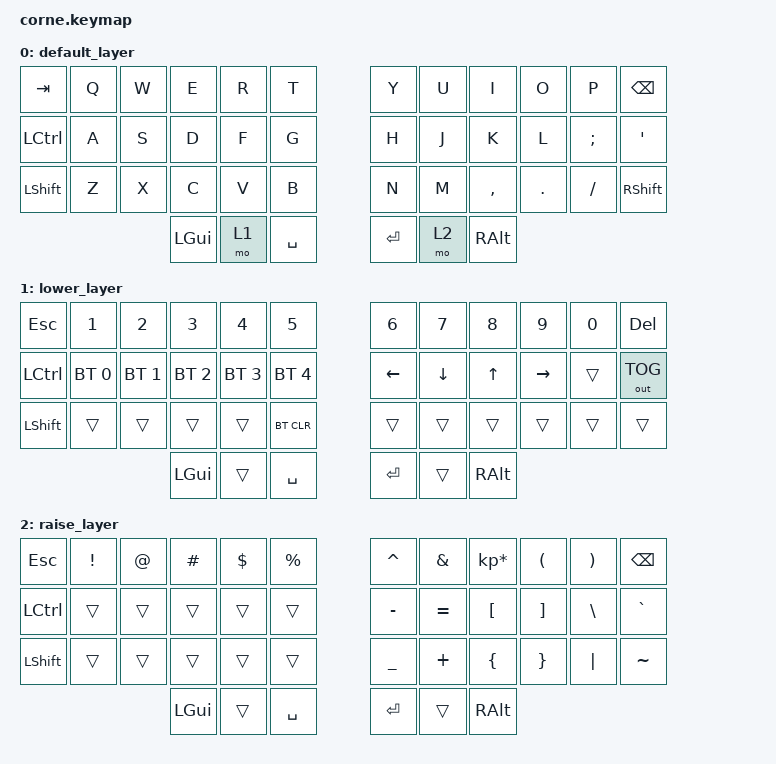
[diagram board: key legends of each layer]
/*
 * Copyright (c) 2020 The ZMK Contributors
 *
 * SPDX-License-Identifier: MIT
 */

#include <behaviors.dtsi>
#include <dt-bindings/zmk/keys.h>
#include <dt-bindings/zmk/bt.h>
#include <dt-bindings/zmk/outputs.h>

/ {
        keymap {
                compatible = "zmk,keymap";

                default_layer {
// -----------------------------------------------------------------------------------------
// |  TAB |  Q  |  W  |  E  |  R  |  T  |   |  Y  |  U   |  I  |  O  |  P  | BKSP |
// | CTRL |  A  |  S  |  D  |  F  |  G  |   |  H  |  J   |  K  |  L  |  ;  |  '   |
// | SHFT |  Z  |  X  |  C  |  V  |  B  |   |  N  |  M   |  ,  |  .  |  /  | SHFT |
//                    | GUI | LWR | SPC |   | ENT | RSE  | ALT |
                        bindings = <
   &kp TAB   &kp Q &kp W &kp E &kp R &kp T   &kp Y &kp U  &kp I     &kp O   &kp P    &kp BSPC
   &kp LCTRL &kp A &kp S &kp D &kp F &kp G   &kp H &kp J  &kp K     &kp L   &kp SEMI &kp SQT
   &kp LSHFT &kp Z &kp X &kp C &kp V &kp B   &kp N &kp M  &kp COMMA &kp DOT &kp FSLH &kp RSHFT
                  &kp LGUI &mo 1 &kp SPACE   &kp RET &mo 2 &kp RALT
                        >;
                };
                lower_layer {
// -----------------------------------------------------------------------------------------
// |  ESC |  1  |  2  |  3  |  4  |  5    |   |  6  |  7  |  8  |  9  |  0  | DEL    |
// | CTRL | BT1 | BT2 | BT3 | BT4 | BT5   |   | LFT | DWN |  UP | RGT |     | USB/BT |
// | SHFT |     |     |     |     | BTCLR |   |     |     |     |     |     |        |
//                    | GUI |     | SPC   |   | ENT |     | ALT |
                        bindings = <
   &kp ESC    &kp N1       &kp N2       &kp N3       &kp N4       &kp N5         &kp N6   &kp N7   &kp N8 &kp N9    &kp N0 &kp DEL
   &kp LCTRL  &bt BT_SEL 0 &bt BT_SEL 1 &bt BT_SEL 2 &bt BT_SEL 3 &bt BT_SEL 4   &kp LEFT &kp DOWN &kp UP &kp RIGHT &trans &out OUT_TOG
   &kp LSHFT  &trans       &trans       &trans       &trans       &bt BT_CLR     &trans   &trans   &trans &trans    &trans &trans
                          	        &kp LGUI     &trans       &kp SPACE      &kp RET  &trans   &kp RALT
                        >;
                };

                raise_layer {
// -----------------------------------------------------------------------------------------
// |  ESC |  !  |  @  |  #  |  $  |  %  |   |  ^  |  &  |  *  |  (  |  )  | BKSP |
// | CTRL |     |     |     |     |     |   |  -  |  =  |  [  |  ]  |  \  |  `   |
// | SHFT |     |     |     |     |     |   |  _  |  +  |  {  |  }  | "|" |  ~   |
//                    | GUI |     | SPC |   | ENT |     | ALT |
                        bindings = <
   &kp ESC   &kp EXCL &kp AT &kp HASH &kp DLLR &kp PRCNT   &kp CARET &kp AMPS  &kp KP_MULTIPLY &kp LPAR &kp RPAR &kp BSPC
   &kp LCTRL &trans   &trans &trans   &trans   &trans      &kp MINUS &kp EQUAL &kp LBKT        &kp RBKT &kp BSLH &kp GRAVE
   &kp LSHFT &trans   &trans &trans   &trans   &trans      &kp UNDER &kp PLUS  &kp LBRC        &kp RBRC &kp PIPE &kp TILDE
                    	     &kp LGUI &trans   &kp SPACE   &kp RET   &trans    &kp RALT
                        >;
                };
        };
};
